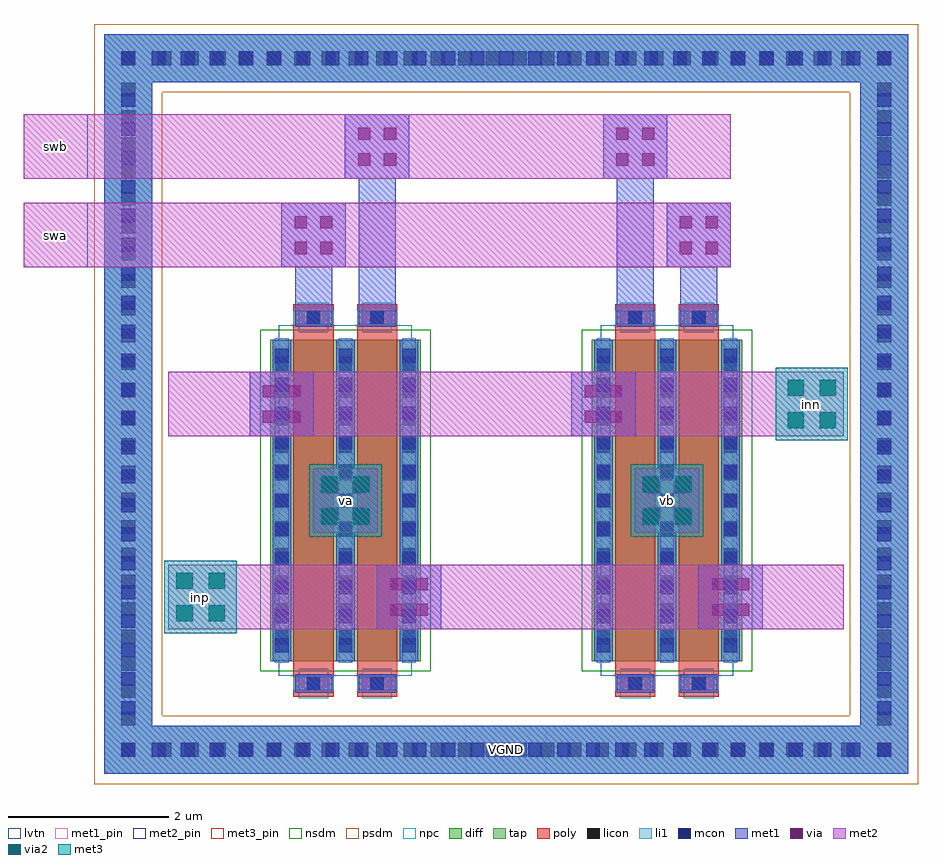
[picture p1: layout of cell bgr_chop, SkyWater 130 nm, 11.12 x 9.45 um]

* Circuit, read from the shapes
.subckt bgr_chop VGND inn inp swa swb va vb
XM1 va swa inn VGND sky130_fd_pr__nfet_01v8_lvt w=4 l=0.5
XM2 inp swb va VGND sky130_fd_pr__nfet_01v8_lvt w=4 l=0.5
XM3 vb swb inn VGND sky130_fd_pr__nfet_01v8_lvt w=4 l=0.5
XM4 inp swa vb VGND sky130_fd_pr__nfet_01v8_lvt w=4 l=0.5
.ends

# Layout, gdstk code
import gdstk
lib = gdstk.Library(unit=1e-6, precision=1e-09)
def R(c, l, rs):  # rectangles x0, y0, x1, y1
    for r in rs: c.add(gdstk.rectangle(r[:2], r[2:], *l))
def A(c, l, x, y, w, h, nx, ny, dx, dy):  # array of equal rectangles
    R(c, l, [(x+i*dx, y+j*dy, x+i*dx+w, y+j*dy+h) for i in range(nx) for j in range(ny)])
diff = (65, 20)
tap = (65, 44)
poly = (66, 20)
licon = (66, 44)
li1 = (67, 20)
mcon = (67, 44)
met1_pin = (68, 16)
met1 = (68, 20)
via = (68, 44)
met2_pin = (69, 16)
met2 = (69, 20)
via2 = (69, 44)
met3_pin = (70, 16)
met3 = (70, 20)
nsdm = (93, 44)
psdm = (94, 20)
npc = (95, 20)
lvtn = (125, 44)

sky130_fd_pr__nfet_01v8_ = lib.new_cell('sky130_fd_pr__nfet_01v8_lvt_MGHACW')
R(sky130_fd_pr__nfet_01v8_, diff, [(-0.935,-2,0.935,2)])
R(sky130_fd_pr__nfet_01v8_, poly, [(-0.645,-2.44,-0.145,2.44), (0.145,-2.44,0.645,2.44)])
A(sky130_fd_pr__nfet_01v8_, licon, -0.875, -1.785, 0.17, 0.17, 3, 11, 0.79, 0.34)
R(sky130_fd_pr__nfet_01v8_, licon, [(-0.48,-2.36,-0.31,-2.19), (0.31,-2.36,0.48,-2.19), (-0.48,2.19,-0.31,2.36), (0.31,2.19,0.48,2.36)])
A(sky130_fd_pr__nfet_01v8_, li1, -0.875, -2.02, 0.17, 4.04, 3, 1, 0.79, 0)
R(sky130_fd_pr__nfet_01v8_, li1, [(-0.645,-2.36,-0.145,-2.19), (0.145,-2.36,0.645,-2.19), (-0.645,2.19,-0.145,2.36), (0.145,2.19,0.645,2.36)])
A(sky130_fd_pr__nfet_01v8_, mcon, -0.875, -1.885, 0.17, 0.17, 3, 11, 0.79, 0.36)
R(sky130_fd_pr__nfet_01v8_, mcon, [(-0.48,-2.36,-0.31,-2.19), (0.31,-2.36,0.48,-2.19), (-0.48,2.19,-0.31,2.36), (0.31,2.19,0.48,2.36)])
A(sky130_fd_pr__nfet_01v8_, met1, -0.905, -2, 0.23, 4, 3, 1, 0.79, 0)
R(sky130_fd_pr__nfet_01v8_, met1, [(-0.625,-2.39,-0.165,-2.16), (0.165,-2.39,0.625,-2.16), (-0.625,2.16,-0.165,2.39), (0.165,2.16,0.625,2.39)])
R(sky130_fd_pr__nfet_01v8_, nsdm, [(-1.06,-2.125,1.06,2.125)])
R(sky130_fd_pr__nfet_01v8_, npc, [(-0.58,-2.46,-0.21,-2.09), (0.21,-2.46,0.58,-2.09), (-0.58,2.09,-0.21,2.46), (0.21,2.09,0.58,2.46)])
R(sky130_fd_pr__nfet_01v8_, lvtn, [(-0.825,-2.18,0.825,2.18)])
sky130_fd_pr__nfet_01v8_.add(gdstk.Label('G1', (0.395,2.275), layer=67, texttype=5))
sky130_fd_pr__nfet_01v8_.add(gdstk.Label('S1', (0,0), layer=67, texttype=5))
sky130_fd_pr__nfet_01v8_.add(gdstk.Label('G0', (-0.395,2.275), layer=67, texttype=5))
sky130_fd_pr__nfet_01v8_.add(gdstk.Label('D0', (-0.79,0), layer=67, texttype=5))

bgr_chop = lib.new_cell('bgr_chop')
R(bgr_chop, tap, [(0,0,10,0.6), (0,0.6,0.6,8.6), (9.4,0.6,10,8.6), (0,8.6,10,9.2)])
A(bgr_chop, licon, 0.665, 0.215, 0.17, 0.17, 26, 2, 0.34, 8.6)
A(bgr_chop, licon, 0.215, 0.605, 0.17, 0.17, 1, 24, 0, 0.34)
A(bgr_chop, licon, 9.615, 0.605, 0.17, 0.17, 1, 24, 0, 0.34)
R(bgr_chop, licon, [(0.215,0.215,0.385,0.385), (9.615,0.215,9.785,0.385), (0.215,8.815,0.385,8.985), (9.615,8.815,9.785,8.985)])
R(bgr_chop, li1, [(0,0,10,0.6), (0,0.6,0.6,8.6), (9.4,0.6,10,8.6), (0,8.6,10,9.2)])
A(bgr_chop, mcon, 0.595, 0.215, 0.17, 0.17, 25, 2, 0.36, 8.6)
A(bgr_chop, mcon, 0.215, 0.735, 0.17, 0.17, 1, 22, 0, 0.36)
A(bgr_chop, mcon, 9.615, 0.735, 0.17, 0.17, 1, 22, 0, 0.36)
R(bgr_chop, mcon, [(0.215,0.215,0.385,0.385), (9.615,0.215,9.785,0.385), (0.215,8.815,0.385,8.985), (9.615,8.815,9.785,8.985)])
R(bgr_chop, met1_pin, [(4.5,0,5.5,0.6)])
R(bgr_chop, met1, [(0,0,10,0.6), (0,0.6,0.6,8.6), (9.4,0.6,10,8.6), (3.39,1.8,4.19,2.6), (7.39,1.8,8.19,2.6), (2.6,3,3.4,3.8), (6.6,3,7.4,3.8), (1.81,4.2,2.61,5), (5.81,4.2,6.61,5), (2.375,5.56,2.835,6.3), (3.165,5.56,3.625,7.4), (6.375,5.56,6.835,7.4), (7.165,5.56,7.625,6.3), (2.205,6.3,3.005,7.1), (6.995,6.3,7.795,7.1), (2.995,7.4,3.795,8.2), (6.205,7.4,7.005,8.2), (0,8.6,10,9.2)])
R(bgr_chop, via, [(3.555,1.965,3.705,2.115), (3.875,1.965,4.025,2.115), (7.555,1.965,7.705,2.115), (7.875,1.965,8.025,2.115), (3.555,2.285,3.705,2.435), (3.875,2.285,4.025,2.435), (7.555,2.285,7.705,2.435), (7.875,2.285,8.025,2.435), (2.765,3.165,2.915,3.315), (3.085,3.165,3.235,3.315), (6.765,3.165,6.915,3.315), (7.085,3.165,7.235,3.315), (2.765,3.485,2.915,3.635), (3.085,3.485,3.235,3.635), (6.765,3.485,6.915,3.635), (7.085,3.485,7.235,3.635), (1.975,4.365,2.125,4.515), (2.295,4.365,2.445,4.515), (5.975,4.365,6.125,4.515), (6.295,4.365,6.445,4.515), (1.975,4.685,2.125,4.835), (2.295,4.685,2.445,4.835), (5.975,4.685,6.125,4.835), (6.295,4.685,6.445,4.835), (2.37,6.465,2.52,6.615), (2.69,6.465,2.84,6.615), (7.16,6.465,7.31,6.615), (7.48,6.465,7.63,6.615), (2.37,6.785,2.52,6.935), (2.69,6.785,2.84,6.935), (7.16,6.785,7.31,6.935), (7.48,6.785,7.63,6.935), (3.16,7.565,3.31,7.715), (3.48,7.565,3.63,7.715), (6.37,7.565,6.52,7.715), (6.69,7.565,6.84,7.715), (3.16,7.885,3.31,8.035), (3.48,7.885,3.63,8.035), (6.37,7.885,6.52,8.035), (6.69,7.885,6.84,8.035)])
R(bgr_chop, met2_pin, [(-1,6.3,-0.2,7.1), (-1,7.4,-0.2,8.2)])
R(bgr_chop, met2, [(0.8,1.8,9.2,2.6), (2.6,3,3.4,3.8), (6.6,3,7.4,3.8), (0.8,4.2,9.2,5), (-1,6.3,7.795,7.1), (-1,7.4,7.795,8.2)])
R(bgr_chop, via2, [(0.9,1.9,1.1,2.1), (1.3,1.9,1.5,2.1), (0.9,2.3,1.1,2.5), (1.3,2.3,1.5,2.5), (2.7,3.1,2.9,3.3), (3.1,3.1,3.3,3.3), (6.7,3.1,6.9,3.3), (7.1,3.1,7.3,3.3), (2.7,3.5,2.9,3.7), (3.1,3.5,3.3,3.7), (6.7,3.5,6.9,3.7), (7.1,3.5,7.3,3.7), (8.5,4.3,8.7,4.5), (8.9,4.3,9.1,4.5), (8.5,4.7,8.7,4.9), (8.9,4.7,9.1,4.9)])
R(bgr_chop, met3_pin, [(0.75,1.75,1.65,2.65), (2.55,2.95,3.45,3.85), (6.55,2.95,7.45,3.85), (8.35,4.15,9.25,5.05)])
R(bgr_chop, met3, [(0.75,1.75,1.65,2.65), (2.55,2.95,3.45,3.85), (6.55,2.95,7.45,3.85), (8.35,4.15,9.25,5.05)])
R(bgr_chop, psdm, [(-0.125,-0.125,10.125,0.725), (-0.125,0.725,0.725,8.475), (9.275,0.725,10.125,8.475), (-0.125,8.475,10.125,9.325)])
bgr_chop.add(gdstk.Reference(sky130_fd_pr__nfet_01v8_, (7,3.4)))
bgr_chop.add(gdstk.Reference(sky130_fd_pr__nfet_01v8_, (3,3.4)))
bgr_chop.add(gdstk.Label('swb', (-0.6,7.8), layer=69, texttype=5))
bgr_chop.add(gdstk.Label('swa', (-0.6,6.7), layer=69, texttype=5))
bgr_chop.add(gdstk.Label('VGND', (5,0.3), layer=68, texttype=5))
bgr_chop.add(gdstk.Label('inp', (1.2,2.2), layer=70, texttype=5))
bgr_chop.add(gdstk.Label('inn', (8.8,4.6), layer=70, texttype=5))
bgr_chop.add(gdstk.Label('vb', (7,3.4), layer=70, texttype=5))
bgr_chop.add(gdstk.Label('va', (3,3.4), layer=70, texttype=5))

lib.write_gds('bgr_chop.gds')
